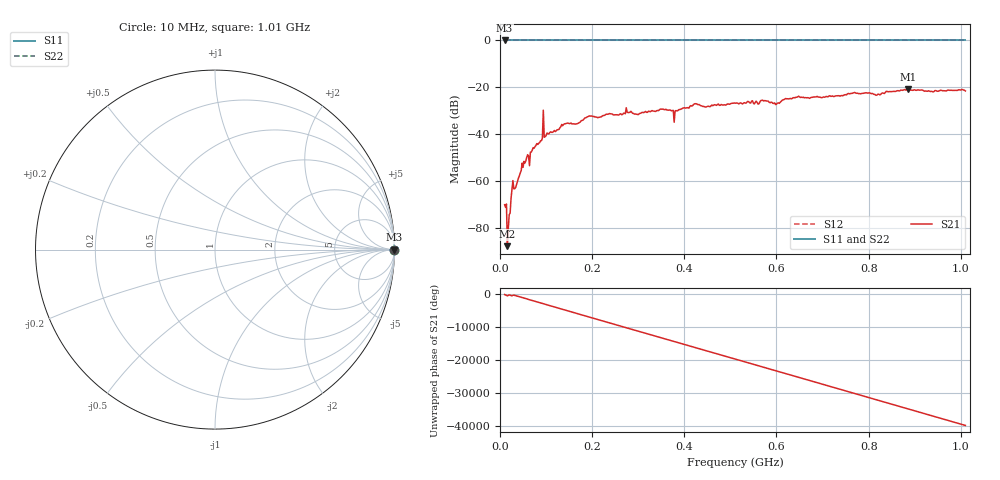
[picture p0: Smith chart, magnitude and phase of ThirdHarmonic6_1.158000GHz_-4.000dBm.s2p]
! 8/16/2025 11:34:22 AM
! C:\ANRITSUVNA\TEMP\TEMP.S2P
! CHANNEL.1
! TR.MEASUREMENT
! RAW.DATA
! RF.CORRECTION.OFF
! AVERAGING.OFF
! IF.BANDWIDTH: 5KHZ
! SWEEPTYPE:  FREQ.SWEEP(Linear)
! Reference Plane Port Info
! PORT:  PORT1  PORT2
! DISTANCE:  0  m  0  m
! TIME:  0  s  0  s
! PHASE.OFFSET:  0  deg.  0  deg.
! LOSS:  0  dB  0  dB
! REF.LOSS:  0  dB  0  dB
! REF.FREQ:  0  Hz  0  Hz
! Power Info
! POWER:  -20  dBm  -20  dBm
! EFF.POWER:  -20  dBm  -20  dBm
! SOURCE.ATTEN:  0  dB  0  dB
! TEST.ATTEN:  0  dB  0  dB
# GHZ S RI R 50.0
! FREQ.GHZ  S11RE  S11IM  S21RE  S21IM  S12RE  S12IM  S22RE  S22IM
!; PortSelection: Port_12
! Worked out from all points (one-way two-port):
!   501 points, 10 MHz to 1.01 GHz, reference 50 ohm
!   highest |S21| = -20.89 dB at 886 MHz (marker M1); lowest = -87.7 dB at 16 MHz (marker M2)
!   lowest |S11| = 0.0 dB at 10 MHz (marker M3)
!   |S11| at or under -10 dB: nowhere
!   |S22| runs from 0.0 to 0.0 dB; largest |S21 - S12| = 1.1
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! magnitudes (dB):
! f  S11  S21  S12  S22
! 10 MHz  0.0  -70.0  0.0  0.0
! 16 MHz  0.0  -87.7  0.0  0.0
! 20 MHz  0.0  -74.2  0.0  0.0
! 24 MHz  0.0  -67.2  0.0  0.0
! 28 MHz  0.0  -59.7  0.0  0.0
! 34 MHz  0.0  -62.7  0.0  0.0
! 56 MHz  0.0  -51.4  0.0  0.0
! 88 MHz  0.0  -42.8  0.0  0.0
! 90 MHz  0.0  -42.7  0.0  0.0
! 178 MHz  0.0  -34.1  0.0  0.0
! 196 MHz  0.0  -32.2  0.0  0.0
! 344 MHz  0.0  -29.9  0.0  0.0
! 382 MHz  0.0  -29.9  0.0  0.0
! 424 MHz  0.0  -27.0  0.0  0.0
! 446 MHz  0.0  -28.4  0.0  0.0
! 510 MHz  0.0  -26.7  0.0  0.0
! 602 MHz  0.0  -26.7  0.0  0.0
! 620 MHz  0.0  -24.7  0.0  0.0
! 678 MHz  0.0  -24.2  0.0  0.0
! 844 MHz  0.0  -21.8  0.0  0.0
! 886 MHz  0.0  -20.9  0.0  0.0
! 1.01 GHz  0.0  -21.5  0.0  0.0
